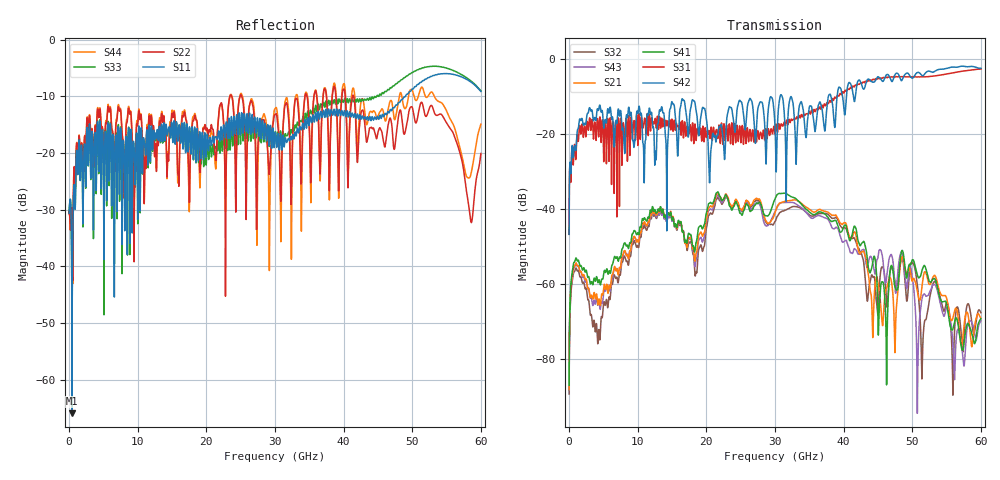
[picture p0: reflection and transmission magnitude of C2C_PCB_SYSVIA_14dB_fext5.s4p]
!$Gore$
!C2C PCB Topology at Nominal
!Tuned Ballou BGA and Tuned Mayfield BOR
!Created with Channel Assembly Tool v1.0.4
# Hz S RI R 50
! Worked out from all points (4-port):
!   6000 points, 10 MHz to 60 GHz, reference 50 ohm
!   strongest paths, dB at 10 MHz, 15.01 GHz, 30.01 GHz, 45.01 GHz, 60 GHz:
!     S42: -46.7, -11.4, -18.1, -4.7, -2.5
!     S31: -46.7, -16.1, -19.9, -5.1, -2.7
!     S41: -86.9, -42.9, -37.2, -70.5, -69.1
!     S21: -88.0, -42.6, -40.9, -59.6, -69.0
!     S43: -88.2, -43.2, -40.7, -52.8, -69.7
!     S32: -89.2, -43.0, -43.3, -68.0, -67.6
!   lowest |S11| = -65.9 dB at 430 MHz (marker M1), VSWR 1.00, Z = 50 + j0.0166 ohm
!   |S11| at or under -10 dB: start of sweep to 48.99 GHz
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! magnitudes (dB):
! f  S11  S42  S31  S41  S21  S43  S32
! 10 MHz  -30.6  -46.7  -46.7  -86.9  -88.0  -88.2  -89.2
! 430 MHz  -65.9  -23.1  -23.4  -57.2  -58.3  -58.5  -59.6
! 4.33 GHz  -22.9  -13.5  -20.3  -58.9  -64.1  -64.2  -72.1
! 12.08 GHz  -16.7  -15.2  -16.0  -40.0  -40.6  -41.0  -41.4
! 31.4 GHz  -18.3  -15.7  -16.9  -35.7  -37.9  -38.2  -40.3
! 46.22 GHz  -13.2  -4.2  -4.9  -77.8  -61.2  -58.8  -63.0
! 60 GHz  -9.1  -2.5  -2.7  -69.1  -69.0  -69.7  -67.6
